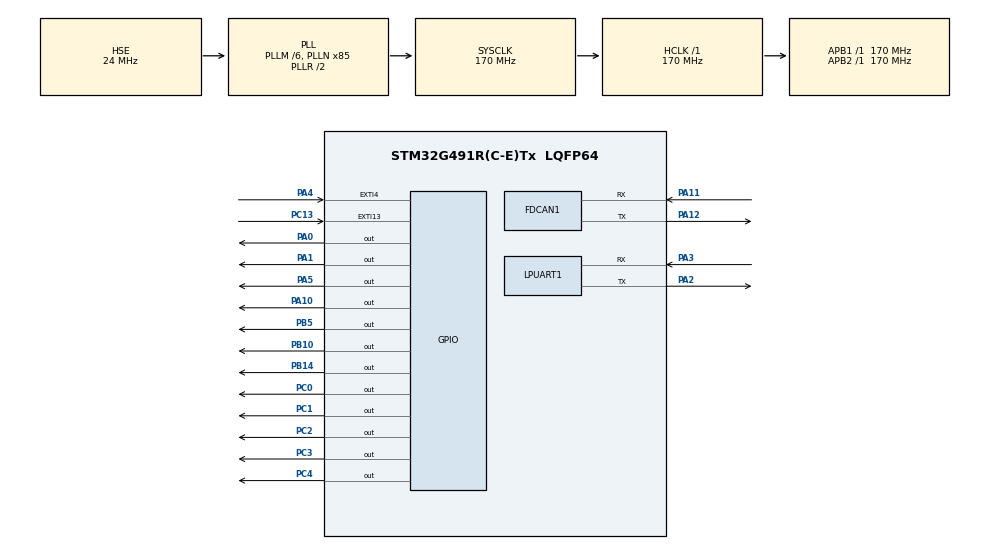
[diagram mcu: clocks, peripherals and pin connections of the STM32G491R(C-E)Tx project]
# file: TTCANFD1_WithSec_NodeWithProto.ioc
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Dma.LPUART1_TX.0.Direction=DMA_MEMORY_TO_PERIPH
Dma.LPUART1_TX.0.EventEnable=DISABLE
Dma.LPUART1_TX.0.Instance=DMA1_Channel1
Dma.LPUART1_TX.0.MemDataAlignment=DMA_MDATAALIGN_BYTE
Dma.LPUART1_TX.0.MemInc=DMA_MINC_ENABLE
Dma.LPUART1_TX.0.Mode=DMA_NORMAL
Dma.LPUART1_TX.0.PeriphDataAlignment=DMA_PDATAALIGN_BYTE
Dma.LPUART1_TX.0.PeriphInc=DMA_PINC_DISABLE
Dma.LPUART1_TX.0.Polarity=HAL_DMAMUX_REQ_GEN_RISING
Dma.LPUART1_TX.0.Priority=DMA_PRIORITY_VERY_HIGH
Dma.LPUART1_TX.0.RequestNumber=1
Dma.LPUART1_TX.0.SignalID=NONE
Dma.LPUART1_TX.0.SyncEnable=DISABLE
Dma.LPUART1_TX.0.SyncPolarity=HAL_DMAMUX_SYNC_NO_EVENT
Dma.LPUART1_TX.0.SyncRequestNumber=1
Dma.LPUART1_TX.0.SyncSignalID=NONE
Dma.Request0=LPUART1_TX
FDCAN1.AutoRetransmission=DISABLE
FDCAN1.CalculateBaudRateNominal=500000
FDCAN1.CalculateTimeBitNominal=2000
FDCAN1.CalculateTimeQuantumNominal=100.0
FDCAN1.DataPrescaler=5
FDCAN1.DataSyncJumpWidth=8
FDCAN1.DataTimeSeg1=12
FDCAN1.DataTimeSeg2=4
FDCAN1.FrameFormat=FDCAN_FRAME_FD_BRS
FDCAN1.NominalPrescaler=17
FDCAN1.NominalSyncJumpWidth=8
FDCAN1.NominalTimeSeg1=15
FDCAN1.NominalTimeSeg2=4
FDCAN1.ProtocolException=ENABLE
FDCAN1.StdFiltersNbr=1
FDCAN1.TransmitPause=ENABLE
Mcu.Family=STM32G4
Mcu.Name=STM32G491R(C-E)Tx
Mcu.Package=LQFP64
NVIC.DMA1_Channel1_IRQn=true\:0\:0\:false\:false\:true\:false\:true\:true
NVIC.EXTI15_10_IRQn=true\:0\:0\:true\:false\:true\:true\:true\:true
NVIC.EXTI4_IRQn=true\:0\:0\:false\:false\:true\:true\:true\:true
NVIC.FDCAN1_IT0_IRQn=true\:0\:0\:false\:false\:true\:true\:true\:true
NVIC.FDCAN1_IT1_IRQn=true\:0\:0\:false\:false\:true\:true\:true\:true
NVIC.LPUART1_IRQn=true\:0\:0\:true\:false\:true\:true\:true\:true
NVIC.PriorityGroup=NVIC_PRIORITYGROUP_1
NVIC.TIM1_CC_IRQn=true\:0\:1\:true\:false\:true\:true\:true\:true
NVIC.TIM1_TRG_COM_TIM17_IRQn=true\:0\:1\:true\:false\:true\:true\:true\:true
NVIC.TIM1_UP_TIM16_IRQn=true\:0\:1\:true\:false\:true\:true\:true\:true
NVIC.TIM3_IRQn=true\:0\:0\:false\:false\:true\:true\:true\:true
PA0.Signal=GPIO_Output
PA1.Signal=GPIO_Output
PA10.Signal=GPIO_Output
PA11.GPIO_Speed=GPIO_SPEED_FREQ_LOW
PA11.Mode=FDCAN_Activate
PA11.Signal=FDCAN1_RX
PA12.GPIO_Speed=GPIO_SPEED_FREQ_LOW
PA12.Mode=FDCAN_Activate
PA12.Signal=FDCAN1_TX
PA13.GPIO_Label=T_SWDIO
PA13.Mode=Trace_Asynchronous_SW
PA13.Signal=SYS_JTMS-SWDIO
PA14.GPIO_Label=T_SWCLK
PA14.Mode=Trace_Asynchronous_SW
PA14.Signal=SYS_JTCK-SWCLK
PA2.Mode=Asynchronous
PA2.Signal=LPUART1_TX
PA3.Mode=Asynchronous
PA3.Signal=LPUART1_RX
PA4.Signal=GPXTI4
PA5.Signal=GPIO_Output
PB10.Signal=GPIO_Output
PB14.Signal=GPIO_Output
PB3.GPIO_Label=T_SWO
PB3.Mode=Trace_Asynchronous_SW
PB3.Signal=SYS_JTDO-SWO
PB5.GPIO_Speed=GPIO_SPEED_FREQ_VERY_HIGH
PB5.Signal=GPIO_Output
PC0.Signal=GPIO_Output
PC1.Signal=GPIO_Output
PC13.Signal=GPXTI13
PC14-OSC32_IN.GPIO_Label=RCC_OSC32_IN
PC14-OSC32_IN.Mode=LSE-External-Oscillator
PC14-OSC32_IN.Signal=RCC_OSC32_IN
PC15-OSC32_OUT.GPIO_Label=RCC_OSC32_OUT
PC15-OSC32_OUT.Mode=LSE-External-Oscillator
PC15-OSC32_OUT.Signal=RCC_OSC32_OUT
PC2.Signal=GPIO_Output
PC3.Signal=GPIO_Output
PC4.Signal=GPIO_Output
PF0-OSC_IN.GPIO_Label=RCC_OSC_IN
PF0-OSC_IN.Mode=HSE-External-Oscillator
PF0-OSC_IN.Signal=RCC_OSC_IN
PF1-OSC_OUT.GPIO_Label=RCC_OSC_OUT
PF1-OSC_OUT.Mode=HSE-External-Oscillator
PF1-OSC_OUT.Signal=RCC_OSC_OUT
ProjectManager.HeapSize=0x400
ProjectManager.StackSize=0x600
ProjectManager.TargetToolchain=STM32CubeIDE
RCC.ADC12Freq_Value=170000000
RCC.ADC345Freq_Value=170000000
RCC.AHBFreq_Value=170000000
RCC.APB1Freq_Value=170000000
RCC.APB1TimFreq_Value=170000000
RCC.APB2Freq_Value=170000000
RCC.APB2TimFreq_Value=170000000
RCC.CortexFreq_Value=170000000
RCC.EXTERNAL_CLOCK_VALUE=12288000
RCC.HCLKFreq_Value=170000000
RCC.HSE_VALUE=24000000
RCC.HSI48_VALUE=48000000
RCC.HSI_VALUE=16000000
RCC.LPUART1CLockSelection=RCC_LPUART1CLKSOURCE_HSI
RCC.PLLM=RCC_PLLM_DIV6
RCC.PLLN=85
RCC.PLLSourceVirtual=RCC_PLLSOURCE_HSE
RCC.RTCClockSelection=RCC_RTCCLKSOURCE_LSE
RCC.SYSCLKFreq_VALUE=170000000
RCC.SYSCLKSource=RCC_SYSCLKSOURCE_PLLCLK
RCC.USBFreq_Value=48000000
RCC.VCOOutputFreq_Value=340000000
TIM1.AutoReloadPreload=TIM_AUTORELOAD_PRELOAD_DISABLE
TIM1.Channel-Output\ Compare1\ No\ Output=TIM_CHANNEL_1
TIM1.Channel-Output\ Compare2\ No\ Output=TIM_CHANNEL_2
TIM1.Channel-Output\ Compare3\ No\ Output=TIM_CHANNEL_3
TIM1.Channel-Output\ Compare4\ No\ Output=TIM_CHANNEL_4
TIM1.ClockDivision=TIM_CLOCKDIVISION_DIV1
TIM1.OC1Preload=DISABLE
TIM1.OC2Preload=DISABLE
TIM1.OC3Preload-Output\ Compare3\ No\ Output=DISABLE
TIM1.OC4Preload=DISABLE
TIM1.OCMode_1=TIM_OCMODE_TOGGLE
TIM1.OCMode_2=TIM_OCMODE_TOGGLE
TIM1.OCMode_3=TIM_OCMODE_TOGGLE
TIM1.OCMode_4=TIM_OCMODE_TOGGLE
TIM1.PeriodNoDither=9999
TIM1.Prescaler=170-1
TIM2.Prescaler=170-1
TIM3.ClockDivision=TIM_CLOCKDIVISION_DIV1
TIM3.PeriodNoDither=180-1
TIM3.Prescaler=170-1
VP_SYS_VS_DBSignals.Mode=DisableDeadBatterySignals
VP_TIM1_VS_ClockSourceINT.Mode=Internal
VP_TIM1_VS_no_output1.Mode=Output Compare1 No Output
VP_TIM1_VS_no_output2.Mode=Output Compare2 No Output
VP_TIM1_VS_no_output3.Mode=Output Compare3 No Output
VP_TIM1_VS_no_output4.Mode=Output Compare4 No Output
VP_TIM2_VS_ClockSourceINT.Mode=Internal
VP_TIM3_VS_ClockSourceINT.Mode=Internal
board=NUCLEO-G491RE

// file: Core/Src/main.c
/* USER CODE BEGIN Header */
/**
  ******************************************************************************
  * @file           : main.c
  * @brief          : Main program body
  ******************************************************************************
  * @attention
  *
  * Copyright (c) 2025 STMicroelectronics.
  * All rights reserved.
  *
  * This software is licensed under terms that can be found in the LICENSE file
  * in the root directory of this software component.
  * If no LICENSE file comes with this software, it is provided AS-IS.
  *
  ******************************************************************************
  */
/* USER CODE END Header */
#include "main.h"

FDCAN_HandleTypeDef hfdcan1;

UART_HandleTypeDef hlpuart1;
DMA_HandleTypeDef hdma_lpuart1_tx;

TIM_HandleTypeDef htim1;
TIM_HandleTypeDef htim2;
TIM_HandleTypeDef htim3;

/* USER CODE BEGIN PV */
int mess_sent = 1;
/* USER CODE END PV */

void SystemClock_Config(void);
static void MX_GPIO_Init(void);
static void MX_DMA_Init(void);
static void MX_FDCAN1_Init(void);
static void MX_LPUART1_UART_Init(void);
static void MX_TIM2_Init(void);
static void MX_TIM1_Init(void);
static void MX_TIM3_Init(void);

int main(void)
{

  /* MCU Configuration--------------------------------------------------------*/

  /* Reset of all peripherals, Initializes the Flash interface and the Systick. */
  HAL_Init();

  /* Configure the system clock */
  SystemClock_Config();

  /* Initialize all configured peripherals */
  MX_GPIO_Init();
  MX_DMA_Init();
  MX_FDCAN1_Init();
  MX_LPUART1_UART_Init();
  MX_TIM2_Init();
  MX_TIM1_Init();
  MX_TIM3_Init();
  /* USER CODE BEGIN 2 */
  MainInit();
  /* USER CODE END 2 */

  /* Infinite loop */
  /* USER CODE BEGIN WHILE */
  while (1)
  {
	  MainLoop();
    /* USER CODE END WHILE */

  }
}

void SystemClock_Config(void)
{
  RCC_OscInitTypeDef RCC_OscInitStruct = {0};
  RCC_ClkInitTypeDef RCC_ClkInitStruct = {0};

  /** Configure the main internal regulator output voltage
  */
  HAL_PWREx_ControlVoltageScaling(PWR_REGULATOR_VOLTAGE_SCALE1_BOOST);

  /** Initializes the RCC Oscillators according to the specified parameters
  * in the RCC_OscInitTypeDef structure.
  */
  RCC_OscInitStruct.OscillatorType = RCC_OSCILLATORTYPE_HSI|RCC_OSCILLATORTYPE_HSE;
  RCC_OscInitStruct.HSEState = RCC_HSE_ON;
  RCC_OscInitStruct.HSIState = RCC_HSI_ON;
  RCC_OscInitStruct.HSICalibrationValue = RCC_HSICALIBRATION_DEFAULT;
  RCC_OscInitStruct.PLL.PLLState = RCC_PLL_ON;
  RCC_OscInitStruct.PLL.PLLSource = RCC_PLLSOURCE_HSE;
  RCC_OscInitStruct.PLL.PLLM = RCC_PLLM_DIV6;
  RCC_OscInitStruct.PLL.PLLN = 85;
  RCC_OscInitStruct.PLL.PLLP = RCC_PLLP_DIV2;
  RCC_OscInitStruct.PLL.PLLQ = RCC_PLLQ_DIV2;
  RCC_OscInitStruct.PLL.PLLR = RCC_PLLR_DIV2;
  if (HAL_RCC_OscConfig(&RCC_OscInitStruct) != HAL_OK)
  {
    Error_Handler();
  }

  /** Initializes the CPU, AHB and APB buses clocks
  */
  RCC_ClkInitStruct.ClockType = RCC_CLOCKTYPE_HCLK|RCC_CLOCKTYPE_SYSCLK
                              |RCC_CLOCKTYPE_PCLK1|RCC_CLOCKTYPE_PCLK2;
  RCC_ClkInitStruct.SYSCLKSource = RCC_SYSCLKSOURCE_PLLCLK;
  RCC_ClkInitStruct.AHBCLKDivider = RCC_SYSCLK_DIV1;
  RCC_ClkInitStruct.APB1CLKDivider = RCC_HCLK_DIV1;
  RCC_ClkInitStruct.APB2CLKDivider = RCC_HCLK_DIV1;

  if (HAL_RCC_ClockConfig(&RCC_ClkInitStruct, FLASH_LATENCY_4) != HAL_OK)
  {
    Error_Handler();
  }
}

static void MX_FDCAN1_Init(void)
{

  hfdcan1.Instance = FDCAN1;
  hfdcan1.Init.ClockDivider = FDCAN_CLOCK_DIV1;
  hfdcan1.Init.FrameFormat = FDCAN_FRAME_FD_BRS;
  hfdcan1.Init.Mode = FDCAN_MODE_NORMAL;
  hfdcan1.Init.AutoRetransmission = DISABLE;
  hfdcan1.Init.TransmitPause = ENABLE;
  hfdcan1.Init.ProtocolException = ENABLE;
  hfdcan1.Init.NominalPrescaler = 17;
  hfdcan1.Init.NominalSyncJumpWidth = 8;
  hfdcan1.Init.NominalTimeSeg1 = 15;
  hfdcan1.Init.NominalTimeSeg2 = 4;
  hfdcan1.Init.DataPrescaler = 5;
  hfdcan1.Init.DataSyncJumpWidth = 8;
  hfdcan1.Init.DataTimeSeg1 = 12;
  hfdcan1.Init.DataTimeSeg2 = 4;
  hfdcan1.Init.StdFiltersNbr = 1;
  hfdcan1.Init.ExtFiltersNbr = 0;
  hfdcan1.Init.TxFifoQueueMode = FDCAN_TX_FIFO_OPERATION;
  if (HAL_FDCAN_Init(&hfdcan1) != HAL_OK)
  {
    Error_Handler();
  }
  /* USER CODE BEGIN FDCAN1_Init 2 */
	  FDCAN_FilterTypeDef canfdfilter;

	  canfdfilter.IdType 		= FDCAN_STANDARD_ID;
	  canfdfilter.FilterIndex 	= 0;
	  canfdfilter.FilterType	= FDCAN_FILTER_RANGE;
	  canfdfilter.FilterConfig 	= FDCAN_FILTER_TO_RXFIFO0;
	  canfdfilter.FilterID1	    = 0x000;
	  canfdfilter.FilterID2		= 0x7FF;

	  if (HAL_FDCAN_ConfigFilter(&hfdcan1, &canfdfilter) != HAL_OK)
	  {
	    Error_Handler();
	  }
  /* USER CODE END FDCAN1_Init 2 */

}

static void MX_LPUART1_UART_Init(void)
{

  hlpuart1.Instance = LPUART1;
  hlpuart1.Init.BaudRate = 209700;
  hlpuart1.Init.WordLength = UART_WORDLENGTH_8B;
  hlpuart1.Init.StopBits = UART_STOPBITS_1;
  hlpuart1.Init.Parity = UART_PARITY_NONE;
  hlpuart1.Init.Mode = UART_MODE_TX_RX;
  hlpuart1.Init.HwFlowCtl = UART_HWCONTROL_NONE;
  hlpuart1.Init.OneBitSampling = UART_ONE_BIT_SAMPLE_DISABLE;
  hlpuart1.Init.ClockPrescaler = UART_PRESCALER_DIV1;
  hlpuart1.AdvancedInit.AdvFeatureInit = UART_ADVFEATURE_NO_INIT;
  if (HAL_UART_Init(&hlpuart1) != HAL_OK)
  {
    Error_Handler();
  }
  if (HAL_UARTEx_SetTxFifoThreshold(&hlpuart1, UART_TXFIFO_THRESHOLD_1_8) != HAL_OK)
  {
    Error_Handler();
  }
  if (HAL_UARTEx_SetRxFifoThreshold(&hlpuart1, UART_RXFIFO_THRESHOLD_1_8) != HAL_OK)
  {
    Error_Handler();
  }
  if (HAL_UARTEx_DisableFifoMode(&hlpuart1) != HAL_OK)
  {
    Error_Handler();
  }

}

static void MX_TIM1_Init(void)
{

  TIM_ClockConfigTypeDef sClockSourceConfig = {0};
  TIM_MasterConfigTypeDef sMasterConfig = {0};
  TIM_OC_InitTypeDef sConfigOC = {0};
  TIM_BreakDeadTimeConfigTypeDef sBreakDeadTimeConfig = {0};

  htim1.Instance = TIM1;
  htim1.Init.Prescaler = 170-1;
  htim1.Init.CounterMode = TIM_COUNTERMODE_UP;
  htim1.Init.Period = 9999;
  htim1.Init.ClockDivision = TIM_CLOCKDIVISION_DIV1;
  htim1.Init.RepetitionCounter = 0;
  htim1.Init.AutoReloadPreload = TIM_AUTORELOAD_PRELOAD_DISABLE;
  if (HAL_TIM_Base_Init(&htim1) != HAL_OK)
  {
    Error_Handler();
  }
  sClockSourceConfig.ClockSource = TIM_CLOCKSOURCE_INTERNAL;
  if (HAL_TIM_ConfigClockSource(&htim1, &sClockSourceConfig) != HAL_OK)
  {
    Error_Handler();
  }
  if (HAL_TIM_OC_Init(&htim1) != HAL_OK)
  {
    Error_Handler();
  }
  sMasterConfig.MasterOutputTrigger = TIM_TRGO_RESET;
  sMasterConfig.MasterOutputTrigger2 = TIM_TRGO2_RESET;
  sMasterConfig.MasterSlaveMode = TIM_MASTERSLAVEMODE_DISABLE;
  if (HAL_TIMEx_MasterConfigSynchronization(&htim1, &sMasterConfig) != HAL_OK)
  {
    Error_Handler();
  }
  sConfigOC.OCMode = TIM_OCMODE_TOGGLE;
  sConfigOC.Pulse = 0;
  sConfigOC.OCPolarity = TIM_OCPOLARITY_HIGH;
  sConfigOC.OCNPolarity = TIM_OCNPOLARITY_HIGH;
  sConfigOC.OCFastMode = TIM_OCFAST_DISABLE;
  sConfigOC.OCIdleState = TIM_OCIDLESTATE_RESET;
  sConfigOC.OCNIdleState = TIM_OCNIDLESTATE_RESET;
  if (HAL_TIM_OC_ConfigChannel(&htim1, &sConfigOC, TIM_CHANNEL_1) != HAL_OK)
  {
    Error_Handler();
  }
  if (HAL_TIM_OC_ConfigChannel(&htim1, &sConfigOC, TIM_CHANNEL_2) != HAL_OK)
  {
    Error_Handler();
  }
  if (HAL_TIM_OC_ConfigChannel(&htim1, &sConfigOC, TIM_CHANNEL_3) != HAL_OK)
  {
    Error_Handler();
  }
  if (HAL_TIM_OC_ConfigChannel(&htim1, &sConfigOC, TIM_CHANNEL_4) != HAL_OK)
  {
    Error_Handler();
  }
  sBreakDeadTimeConfig.OffStateRunMode = TIM_OSSR_DISABLE;
  sBreakDeadTimeConfig.OffStateIDLEMode = TIM_OSSI_DISABLE;
  sBreakDeadTimeConfig.LockLevel = TIM_LOCKLEVEL_OFF;
  sBreakDeadTimeConfig.DeadTime = 0;
  sBreakDeadTimeConfig.BreakState = TIM_BREAK_DISABLE;
  sBreakDeadTimeConfig.BreakPolarity = TIM_BREAKPOLARITY_HIGH;
  sBreakDeadTimeConfig.BreakFilter = 0;
  sBreakDeadTimeConfig.BreakAFMode = TIM_BREAK_AFMODE_INPUT;
  sBreakDeadTimeConfig.Break2State = TIM_BREAK2_DISABLE;
  sBreakDeadTimeConfig.Break2Polarity = TIM_BREAK2POLARITY_HIGH;
  sBreakDeadTimeConfig.Break2Filter = 0;
  sBreakDeadTimeConfig.Break2AFMode = TIM_BREAK_AFMODE_INPUT;
  sBreakDeadTimeConfig.AutomaticOutput = TIM_AUTOMATICOUTPUT_DISABLE;
  if (HAL_TIMEx_ConfigBreakDeadTime(&htim1, &sBreakDeadTimeConfig) != HAL_OK)
  {
    Error_Handler();
  }

}

static void MX_TIM2_Init(void)
{

  TIM_ClockConfigTypeDef sClockSourceConfig = {0};
  TIM_MasterConfigTypeDef sMasterConfig = {0};

  htim2.Instance = TIM2;
  htim2.Init.Prescaler = 170-1;
  htim2.Init.CounterMode = TIM_COUNTERMODE_UP;
  htim2.Init.Period = 4294967295;
  htim2.Init.ClockDivision = TIM_CLOCKDIVISION_DIV1;
  htim2.Init.AutoReloadPreload = TIM_AUTORELOAD_PRELOAD_DISABLE;
  if (HAL_TIM_Base_Init(&htim2) != HAL_OK)
  {
    Error_Handler();
  }
  sClockSourceConfig.ClockSource = TIM_CLOCKSOURCE_INTERNAL;
  if (HAL_TIM_ConfigClockSource(&htim2, &sClockSourceConfig) != HAL_OK)
  {
    Error_Handler();
  }
  sMasterConfig.MasterOutputTrigger = TIM_TRGO_RESET;
  sMasterConfig.MasterSlaveMode = TIM_MASTERSLAVEMODE_DISABLE;
  if (HAL_TIMEx_MasterConfigSynchronization(&htim2, &sMasterConfig) != HAL_OK)
  {
    Error_Handler();
  }

}

static void MX_TIM3_Init(void)
{

  TIM_ClockConfigTypeDef sClockSourceConfig = {0};
  TIM_MasterConfigTypeDef sMasterConfig = {0};

  htim3.Instance = TIM3;
  htim3.Init.Prescaler = 170-1;
  htim3.Init.CounterMode = TIM_COUNTERMODE_UP;
  htim3.Init.Period = 179;
  htim3.Init.ClockDivision = TIM_CLOCKDIVISION_DIV1;
  htim3.Init.AutoReloadPreload = TIM_AUTORELOAD_PRELOAD_DISABLE;
  if (HAL_TIM_Base_Init(&htim3) != HAL_OK)
  {
    Error_Handler();
  }
  sClockSourceConfig.ClockSource = TIM_CLOCKSOURCE_INTERNAL;
  if (HAL_TIM_ConfigClockSource(&htim3, &sClockSourceConfig) != HAL_OK)
  {
    Error_Handler();
  }
  sMasterConfig.MasterOutputTrigger = TIM_TRGO_RESET;
  sMasterConfig.MasterSlaveMode = TIM_MASTERSLAVEMODE_DISABLE;
  if (HAL_TIMEx_MasterConfigSynchronization(&htim3, &sMasterConfig) != HAL_OK)
  {
    Error_Handler();
  }

}

static void MX_DMA_Init(void)
{

  /* DMA controller clock enable */
  __HAL_RCC_DMAMUX1_CLK_ENABLE();
  __HAL_RCC_DMA1_CLK_ENABLE();

  /* DMA interrupt init */
  /* DMA1_Channel1_IRQn interrupt configuration */
  HAL_NVIC_SetPriority(DMA1_Channel1_IRQn, 0, 0);
  HAL_NVIC_EnableIRQ(DMA1_Channel1_IRQn);

}

static void MX_GPIO_Init(void)
{
  GPIO_InitTypeDef GPIO_InitStruct = {0};

  /* GPIO Ports Clock Enable */
  __HAL_RCC_GPIOC_CLK_ENABLE();
  __HAL_RCC_GPIOF_CLK_ENABLE();
  __HAL_RCC_GPIOA_CLK_ENABLE();
  __HAL_RCC_GPIOB_CLK_ENABLE();

  /*Configure GPIO pin Output Level */
  HAL_GPIO_WritePin(GPIOC, GPIO_PIN_0|GPIO_PIN_1|GPIO_PIN_2|GPIO_PIN_3
                          |GPIO_PIN_4, GPIO_PIN_RESET);

  /*Configure GPIO pin Output Level */
  HAL_GPIO_WritePin(GPIOA, GPIO_PIN_0|GPIO_PIN_1|GPIO_PIN_5|GPIO_PIN_10, GPIO_PIN_RESET);

  /*Configure GPIO pin Output Level */
  HAL_GPIO_WritePin(GPIOB, GPIO_PIN_10|GPIO_PIN_14|GPIO_PIN_5, GPIO_PIN_RESET);

  /*Configure GPIO pin : PC13 */
  GPIO_InitStruct.Pin = GPIO_PIN_13;
  GPIO_InitStruct.Mode = GPIO_MODE_IT_RISING;
  GPIO_InitStruct.Pull = GPIO_NOPULL;
  HAL_GPIO_Init(GPIOC, &GPIO_InitStruct);

  /*Configure GPIO pins : PC0 PC1 PC2 PC3
                           PC4 */
  GPIO_InitStruct.Pin = GPIO_PIN_0|GPIO_PIN_1|GPIO_PIN_2|GPIO_PIN_3
                          |GPIO_PIN_4;
  GPIO_InitStruct.Mode = GPIO_MODE_OUTPUT_PP;
  GPIO_InitStruct.Pull = GPIO_NOPULL;
  GPIO_InitStruct.Speed = GPIO_SPEED_FREQ_LOW;
  HAL_GPIO_Init(GPIOC, &GPIO_InitStruct);

  /*Configure GPIO pins : PA0 PA1 PA5 PA10 */
  GPIO_InitStruct.Pin = GPIO_PIN_0|GPIO_PIN_1|GPIO_PIN_5|GPIO_PIN_10;
  GPIO_InitStruct.Mode = GPIO_MODE_OUTPUT_PP;
  GPIO_InitStruct.Pull = GPIO_NOPULL;
  GPIO_InitStruct.Speed = GPIO_SPEED_FREQ_LOW;
  HAL_GPIO_Init(GPIOA, &GPIO_InitStruct);

  /*Configure GPIO pin : PA4 */
  GPIO_InitStruct.Pin = GPIO_PIN_4;
  GPIO_InitStruct.Mode = GPIO_MODE_IT_RISING;
  GPIO_InitStruct.Pull = GPIO_NOPULL;
  HAL_GPIO_Init(GPIOA, &GPIO_InitStruct);

  /*Configure GPIO pins : PB10 PB14 */
  GPIO_InitStruct.Pin = GPIO_PIN_10|GPIO_PIN_14;
  GPIO_InitStruct.Mode = GPIO_MODE_OUTPUT_PP;
  GPIO_InitStruct.Pull = GPIO_NOPULL;
  GPIO_InitStruct.Speed = GPIO_SPEED_FREQ_LOW;
  HAL_GPIO_Init(GPIOB, &GPIO_InitStruct);

  /*Configure GPIO pin : PB5 */
  GPIO_InitStruct.Pin = GPIO_PIN_5;
  GPIO_InitStruct.Mode = GPIO_MODE_OUTPUT_PP;
  GPIO_InitStruct.Pull = GPIO_NOPULL;
  GPIO_InitStruct.Speed = GPIO_SPEED_FREQ_VERY_HIGH;
  HAL_GPIO_Init(GPIOB, &GPIO_InitStruct);

  /* EXTI interrupt init*/
  HAL_NVIC_SetPriority(EXTI4_IRQn, 0, 0);
  HAL_NVIC_EnableIRQ(EXTI4_IRQn);

  HAL_NVIC_SetPriority(EXTI15_10_IRQn, 0, 0);
  HAL_NVIC_EnableIRQ(EXTI15_10_IRQn);

}

/* USER CODE BEGIN 4 */
int _write(int file, char *ptr, int len)
{
    HAL_UART_Transmit_DMA(&hlpuart1, (uint8_t *)ptr, len);
    return len;
}
/* USER CODE END 4 */

void Error_Handler(void)
{
}
